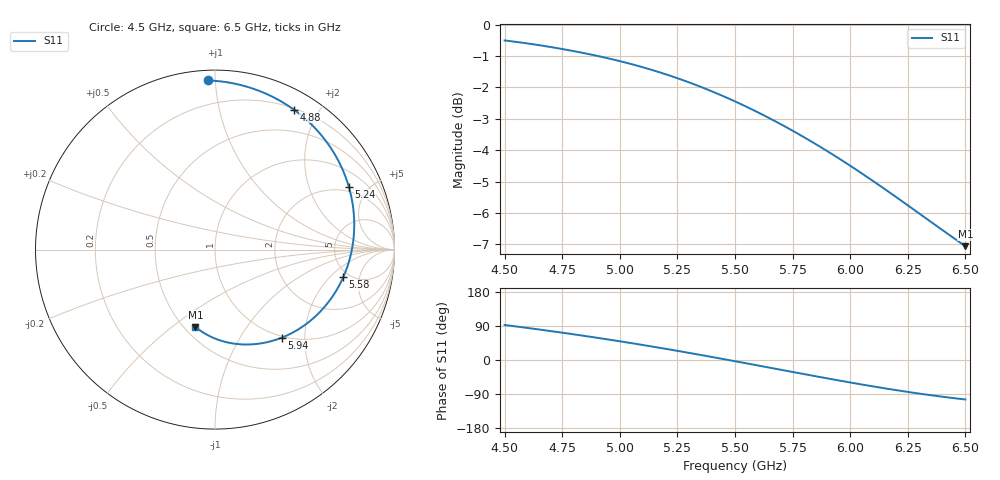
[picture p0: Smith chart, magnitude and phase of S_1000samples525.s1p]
! TOUCHSTONE file generated by CST MICROWAVE STUDIO
! Date and time: Fri Oct 28 11:23:47 2022
! Project name: L.cst
! Parameters = {Di=1.27; Epsilon_r=1.56; InnerDiameter=1.27; Length=2; Lf=10; Lg=60; OuterConductorThickness=0.2921; OuterDiameter=3.6; Wf=3; Wp=41.2; de=1.5; df=6.8; g=0.8; gx=2.11536; gy=4.51943; h=2.34; hf=1.524; px=11.7458; py=8.17751; w=9.7; wx=9.63042; wy=3.65808}
! Header version: 2018
! Port assignment regex: !\s*Touchstone port\s*([0-9]+)\s*=\s*(CST MWS port|CST DS port)\s*([0-9]+|Zmin|Zmax)\s*\(\"(.*)\"\)(\s*mode\s*([0-9]+))?.*
! Touchstone port assignment:
! Touchstone port 1 = CST MWS port 1 ("")
# GHz S DB R 50
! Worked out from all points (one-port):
!   101 points, 4.5 GHz to 6.5 GHz, reference 50 ohm
!   lowest |S11| = -7.1 dB at 6.5 GHz (marker M1), VSWR 2.60, Z = 28.4 - j30.4 ohm
!   |S11| at or under -10 dB: nowhere
!   S11 on the Smith chart (normalised r, x): 4.5 GHz: 0.06, +0.96; 4.88 GHz: 0.22, +1.69; 5.24 GHz: 1.71, +3.73; 5.58 GHz: 4.41, -2.93; 5.94 GHz: 0.98, -1.55; 6.5 GHz: 0.57, -0.61
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4.5  -0.51 92.4
4.58  -0.58 86.1
4.64  -0.65 81.3
4.76  -0.79 71.2
4.82  -0.88 66.0
4.88  -0.96 60.6
4.94  -1.06 55.0
5  -1.17 49.4
5.12  -1.40 37.6
5.18  -1.54 31.4
5.24  -1.68 25.2
5.26  -1.73 23.1
5.32  -1.90 16.7
5.38  -2.07 10.1
5.44  -2.25 3.5
5.5  -2.45 -3.2
5.58  -2.73 -12.2
5.68  -3.10 -23.6
5.76  -3.42 -32.7
5.86  -3.85 -44.0
5.94  -4.21 -52.8
6  -4.49 -59.3
6.06  -4.79 -65.6
6.12  -5.09 -71.7
6.18  -5.39 -77.6
6.26  -5.81 -85.1
6.38  -6.44 -95.3
6.5  -7.05 -104.2
